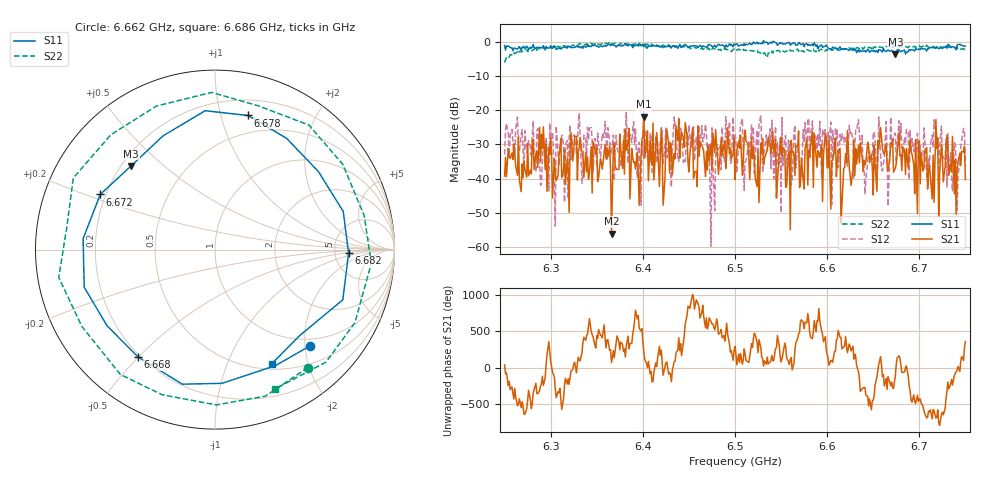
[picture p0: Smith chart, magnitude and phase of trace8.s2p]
# Hz S RI R 50
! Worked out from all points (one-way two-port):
!   401 points, 6.25 GHz to 6.75 GHz, reference 50 ohm
!   highest |S21| = -21.83 dB at 6.401 GHz (marker M1); lowest = -56.1 dB at 6.366 GHz (marker M2)
!   lowest |S11| = -3.6 dB at 6.674 GHz (marker M3), VSWR 4.89, Z = 11.9 + j19.7 ohm
!   |S11| at or under -10 dB: nowhere
!   |S22| runs from -6.0 to 0.0 dB; largest |S21 - S12| = 0.12
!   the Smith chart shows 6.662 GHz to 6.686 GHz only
!   S11 on the Smith chart (normalised r, x): 6.662 GHz: 0.85, -2.10; 6.668 GHz: 0.19, -0.50; 6.672 GHz: 0.18, +0.22; 6.678 GHz: 0.33, +1.22; 6.682 GHz: 6.76, -0.63; 6.686 GHz: 0.57, -1.46
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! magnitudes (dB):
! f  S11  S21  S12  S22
! 6.25 GHz  -1.0  -39.3  -33.0  -6.0
! 6.334 GHz  -1.2  -32.6  -41.4  -0.6
! 6.366 GHz  -0.7  -56.1  -31.8  -0.4
! 6.394 GHz  -0.7  -32.3  -39.6  -0.6
! 6.401 GHz  -1.3  -21.8  -34.0  -0.4
! 6.418 GHz  -1.3  -42.3  -33.1  -1.0
! 6.466 GHz  -1.2  -31.9  -28.6  -2.0
! 6.476 GHz  -1.4  -26.6  -36.0  -1.6
! 6.5 GHz  -0.8  -40.3  -27.2  -2.5
! 6.548 GHz  -0.5  -33.1  -35.8  -2.5
! 6.584 GHz  -0.6  -26.1  -23.1  -2.5
! 6.618 GHz  -2.0  -36.9  -29.3  -1.9
! 6.635 GHz  -2.9  -35.5  -27.2  -2.0
! 6.641 GHz  -2.5  -36.0  -44.6  -1.4
! 6.662 GHz  -2.5  -32.8  -34.1  -1.6
! 6.668 GHz  -2.7  -33.8  -33.5  -1.2
! 6.672 GHz  -3.0  -38.1  -27.9  -1.1
! 6.674 GHz  -3.6  -36.9  -26.6  -1.3
! 6.678 GHz  -2.3  -26.4  -23.0  -1.6
! 6.682 GHz  -2.6  -30.7  -33.5  -1.2
! 6.686 GHz  -3.0  -31.2  -25.6  -1.5
! 6.75 GHz  -1.2  -40.3  -36.7  -1.9
